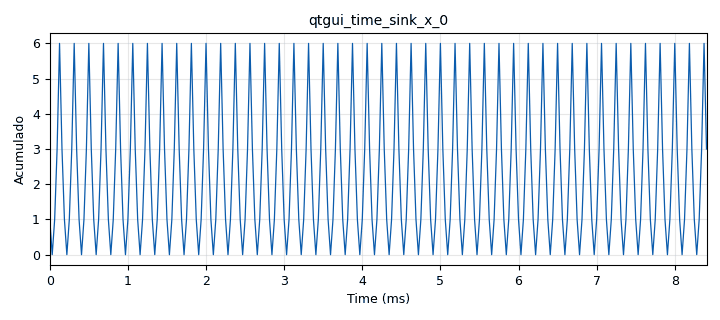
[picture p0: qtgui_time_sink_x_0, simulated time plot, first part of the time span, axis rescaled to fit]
options:
  parameters:
    generate_options: qt_gui
    id: Acumulador
    output_language: python
    title: Not titled yet
  states: {}

blocks:
- name: samp_rate
  id: variable
  parameters:
    value: '32000'
  states: {}
- name: blocks_throttle2_0
  id: blocks_throttle2
  parameters:
    samples_per_second: samp_rate
    type: float
  states: {}
- name: blocks_vector_source_x_0
  id: blocks_vector_source_x
  parameters:
    repeat: 'True'
    type: float
    vector: '[1, 2, 3, -3, -2, -1]'
  states: {}
- name: epy_block_0
  id: epy_block
  parameters:
    _source_code: |
      import numpy as np
      from gnuradio import gr

      class blk(gr.sync_block):  # Hereda de gr.sync_block
          def __init__(self):  # Constructor sin argumentos adicionales
              gr.sync_block.__init__(
                  self,
                  name='Acumulador',  # Nombre que aparecerá en GRC
                  in_sig=[np.float32],  # Señal de entrada
                  out_sig=[np.float32]  # Señal de salida
              )
              self.accumulated = 0  # Inicializa el acumulador

          def work(self, input_items, output_items):
              x = input_items[0]  # Señal de entrada
              y = output_items[0]  # Señal de salida acumulada
              
              self.accumulated += np.cumsum(x)  # Acumula la señal de entrada
              y[:] = self.accumulated  # Asigna el valor acumulado a la salida
              
              return len(y)
    alias: Acumulador
  states: {}
- name: qtgui_time_sink_x_0
  id: qtgui_time_sink_x
  parameters:
    size: '1024'
    srate: samp_rate
    type: float
    ylabel: Acumulado
  states: {}

connections:
- [blocks_throttle2_0, '0', epy_block_0, '0']
- [blocks_vector_source_x_0, '0', blocks_throttle2_0, '0']
- [epy_block_0, '0', qtgui_time_sink_x_0, '0']

metadata:
  file_format: 1
  grc_version: v3.10.11.0-89-ga17f69e7
